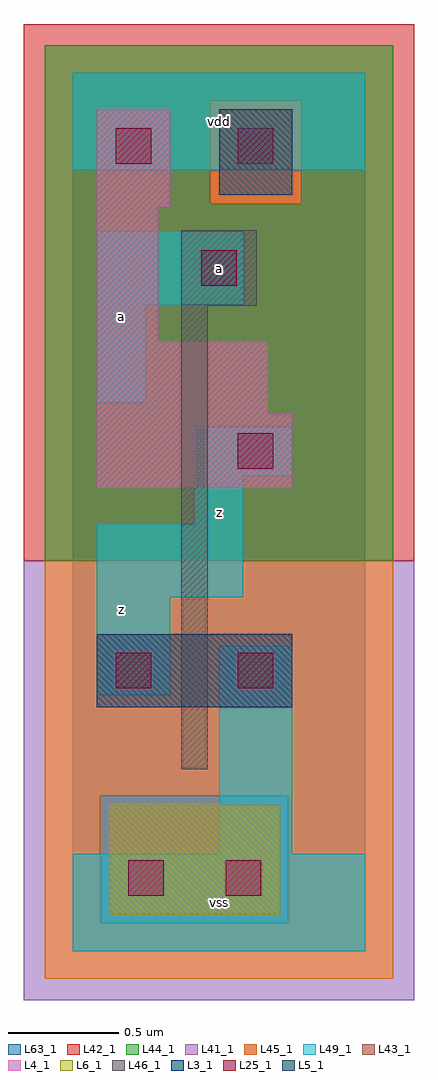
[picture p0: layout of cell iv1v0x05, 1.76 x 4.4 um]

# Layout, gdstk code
import gdstk
lib = gdstk.Library(unit=1e-6, precision=1e-09)
def R(c, l, rs):  # rectangles x0, y0, x1, y1
    for r in rs: c.add(gdstk.rectangle(r[:2], r[2:], *l))
L3_1 = (3, 1)
L4_1 = (4, 1)
L5_1 = (5, 1)
L6_1 = (6, 1)
L25_1 = (25, 1)
L41_1 = (41, 1)
L42_1 = (42, 1)
L43_1 = (43, 1)
L44_1 = (44, 1)
L45_1 = (45, 1)
L46_1 = (46, 1)
L49_1 = (49, 1)
L63_1 = (63, 1)

iv1v0x05 = lib.new_cell('iv1v0x05')
R(iv1v0x05, L3_1, [(0.11,1.1,0.99,1.43)])
R(iv1v0x05, L4_1, [(0.11,2.09,0.99,2.42), (0.11,2.42,0.88,2.75), (0.11,2.75,0.385,3.355), (0.11,3.355,0.44,3.795)])
R(iv1v0x05, L5_1, [(0.66,3.41,0.99,3.795)])
R(iv1v0x05, L6_1, [(0.165,0.165,0.935,0.66)])
R(iv1v0x05, L25_1, [(0.25,0.25,0.41,0.41), (0.69,0.25,0.85,0.41), (0.195,1.185,0.355,1.345), (0.745,1.185,0.905,1.345), (0.745,2.175,0.905,2.335), (0.58,3,0.74,3.16), (0.195,3.55,0.355,3.71), (0.745,3.55,0.905,3.71)])
R(iv1v0x05, L41_1, [(-0.22,-0.22,1.54,1.76)])
R(iv1v0x05, L42_1, [(-0.22,1.76,1.54,4.18)])
R(iv1v0x05, L43_1, [(0.165,0.165,0.935,0.66), (0.11,1.1,0.99,1.43), (0.11,2.09,0.99,2.42), (0.11,2.42,0.88,2.75), (0.11,2.75,0.385,3.355), (0.11,3.355,0.44,3.795), (0.66,3.41,0.99,3.795)])
R(iv1v0x05, L44_1, [(0.125,0.125,0.975,0.7), (-0.125,1.76,1.445,3.37), (-0.125,3.37,0.62,3.835), (1.03,3.37,1.445,3.835), (-0.125,3.835,1.445,4.085)])
R(iv1v0x05, L45_1, [(-0.125,-0.125,1.445,0.125), (-0.125,0.125,0.125,0.7), (0.975,0.125,1.445,0.7), (-0.125,0.7,1.445,1.76), (0.62,3.37,1.03,3.835)])
R(iv1v0x05, L46_1, [(0.49,0.82,0.61,2.91), (0.49,2.91,0.83,3.25)])
R(iv1v0x05, L49_1, [(0,0,1.32,0.44), (0.66,0.44,0.99,1.375), (0.11,1.155,0.44,1.595), (0.11,1.595,0.77,1.925), (0.55,1.925,0.77,2.145), (0.55,2.145,0.99,2.365), (0.11,2.475,0.33,2.915), (0.11,2.915,0.77,3.245), (0,3.52,1.32,3.96)])
R(iv1v0x05, L63_1, [(0,0,1.32,3.96)])
iv1v0x05.add(gdstk.Label('z', (0.22,1.54), layer=49, texttype=1))
iv1v0x05.add(gdstk.Label('a', (0.22,2.86), layer=49, texttype=1))
iv1v0x05.add(gdstk.Label('vss', (0.66,0.22), layer=49, texttype=1))
iv1v0x05.add(gdstk.Label('z', (0.66,1.98), layer=49, texttype=1))
iv1v0x05.add(gdstk.Label('a', (0.66,3.08), layer=49, texttype=1))
iv1v0x05.add(gdstk.Label('vdd', (0.66,3.74), layer=49, texttype=1))

lib.write_gds('iv1v0x05.gds')
